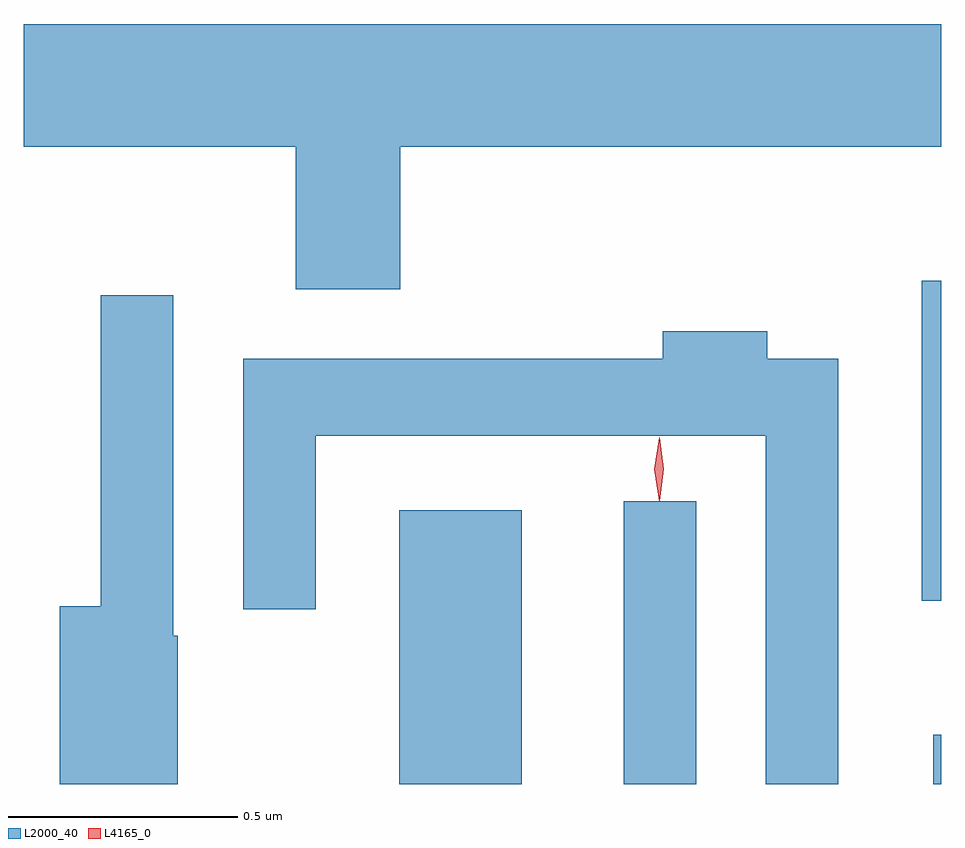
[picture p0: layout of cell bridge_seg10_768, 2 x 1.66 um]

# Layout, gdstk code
import gdstk
lib = gdstk.Library(unit=1e-6, precision=1e-09)
def R(c, l, rs):  # rectangles x0, y0, x1, y1
    for r in rs: c.add(gdstk.rectangle(r[:2], r[2:], *l))
def P(c, l, *ps):  # polygons
    for p in ps: c.add(gdstk.Polygon(p, *l))
L2000_40 = (2000, 40)
L4165_0 = (4165, 0)

bridge_seg10_768 = lib.new_cell('bridge_seg10_768')
R(bridge_seg10_768, L2000_40, [(868.686,2145.827,868.954,2146.424), (869.176,2145.827,869.334,2146.443), (869.851,2145.827,869.868,2145.934), (869.826,2146.226,869.868,2146.924)])
P(bridge_seg10_768, L2000_40, [(868.689,2147.216),(869.868,2147.216),(869.868,2147.484),(867.868,2147.484),(867.868,2147.216),(868.461,2147.216),(868.461,2146.906),(868.689,2146.906)],
  [(868.204,2146.15),(868.194,2146.15),(868.194,2146.893),(868.036,2146.893),(868.036,2146.214),(867.946,2146.214),(867.946,2145.827),(868.204,2145.827)],
  [(869.644,2146.754),(869.489,2146.754),(869.489,2146.814),(869.261,2146.814),(869.261,2146.754),(868.346,2146.754),(868.346,2146.208),(868.504,2146.208),(868.504,2146.586),(869.486,2146.586),(869.486,2145.827),(869.644,2145.827)])
P(bridge_seg10_768, L4165_0, [(869.253,2146.447),(869.253,2146.447),(869.243,2146.514),(869.253,2146.58),(869.253,2146.58),(869.254,2146.58),(869.263,2146.514),(869.254,2146.447)],
  [(869.253,2146.443),(869.253,2146.444),(869.243,2146.513),(869.253,2146.582),(869.253,2146.583),(869.254,2146.582),(869.263,2146.513),(869.254,2146.444)])

lib.write_gds('bridge_seg10_768.gds')
